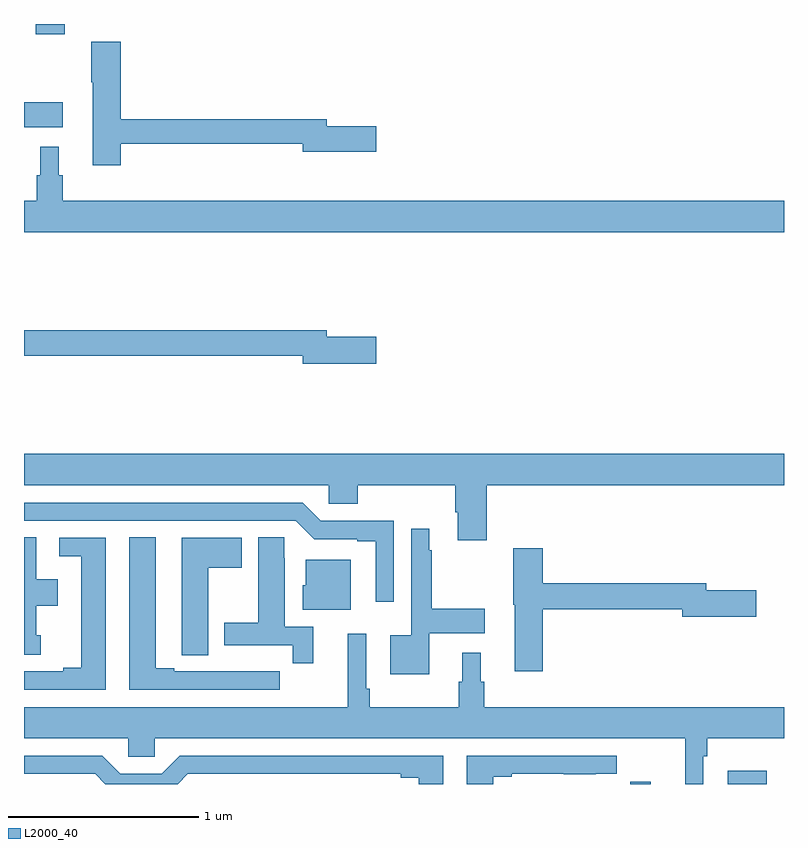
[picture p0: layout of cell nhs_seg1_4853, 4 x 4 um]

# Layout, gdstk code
import gdstk
lib = gdstk.Library(unit=1e-6, precision=1e-09)
def R(c, l, rs):  # rectangles x0, y0, x1, y1
    for r in rs: c.add(gdstk.rectangle(r[:2], r[2:], *l))
def P(c, l, *ps):  # polygons
    for p in ps: c.add(gdstk.Polygon(p, *l))
L2000_40 = (2000, 40)

nhs_seg1_4853 = lib.new_cell('nhs_seg1_4853')
R(nhs_seg1_4853, L2000_40, [(378.19,510.199,378.299,510.211), (378.704,510.199,378.91,510.268), (375,513.656,375.205,513.786), (375.062,514.145,375.215,514.199)])
P(nhs_seg1_4853, L2000_40, [(375.509,513.57),(376.466,513.57),(376.466,513.527),(376.855,513.527),(376.855,513.662),(376.594,513.662),(376.594,513.698),(375.509,513.698),(375.509,514.105),(375.355,514.105),(375.355,513.892),(375.362,513.892),(375.362,513.456),(375.509,513.456)],
  [(379,513.268),(375.203,513.268),(375.203,513.402),(375.184,513.402),(375.184,513.553),(375.086,513.553),(375.086,513.402),(375.067,513.402),(375.067,513.268),(375,513.268),(375,513.104),(379,513.104)],
  [(376.855,512.552),(376.594,512.552),(376.594,512.588),(375,512.588),(375,512.452),(376.466,512.452),(376.466,512.41),(376.855,512.41)],
  [(377.435,511.772),(379,511.772),(379,511.936),(375,511.936),(375,511.772),(376.605,511.772),(376.605,511.674),(376.757,511.674),(376.757,511.772),(377.27,511.772),(377.27,511.63),(377.282,511.63),(377.282,511.482),(377.435,511.482)],
  [(376.947,511.584),(376.563,511.584),(376.467,511.68),(375,511.68),(375,511.584),(376.431,511.584),(376.527,511.488),(376.754,511.488),(376.754,511.476),(376.85,511.476),(376.85,511.158),(376.947,511.158)],
  [(377.134,510.992),(377.425,510.992),(377.425,511.122),(377.146,511.122),(377.146,511.43),(377.134,511.43),(377.134,511.543),(377.037,511.543),(377.037,510.982),(376.928,510.982),(376.928,510.776),(377.134,510.776)],
  [(376.523,511.026),(376.372,511.026),(376.372,511.388),(376.371,511.388),(376.371,511.499),(376.232,511.499),(376.232,511.047),(376.055,511.047),(376.055,510.93),(376.414,510.93),(376.414,510.834),(376.523,510.834)],
  [(375.088,510.981),(375.064,510.981),(375.064,511.136),(375.178,511.136),(375.178,511.276),(375.064,511.276),(375.064,511.499),(375,511.499),(375,510.879),(375.088,510.879)],
  [(376.345,510.792),(376.232,510.792),(376.232,510.793),(376.066,510.793),(376.066,510.792),(375.79,510.792),(375.79,510.807),(375.694,510.807),(375.694,511.499),(375.554,511.499),(375.554,510.696),(376.345,510.696)],
  [(375.97,511.336),(376.147,511.336),(376.147,511.495),(375.83,511.495),(375.83,510.985),(375.831,510.985),(375.831,510.877),(375.97,510.877)],
  [(375.43,511.494),(375.186,511.494),(375.186,511.398),(375.302,511.398),(375.302,510.812),(375.206,510.812),(375.206,510.792),(375,510.792),(375,510.696),(375.43,510.696)],
  [(377.729,511.12),(378.464,511.12),(378.464,511.078),(378.853,511.078),(378.853,511.22),(378.592,511.22),(378.592,511.256),(377.729,511.256),(377.729,511.441),(377.575,511.441),(377.575,511.143),(377.582,511.143),(377.582,510.792),(377.729,510.792)],
  [(376.72,511.378),(376.484,511.378),(376.484,511.245),(376.466,511.245),(376.466,511.115),(376.72,511.115)],
  [(378.576,510.344),(378.596,510.344),(378.596,510.44),(379,510.44),(379,510.604),(377.423,510.604),(377.423,510.738),(377.404,510.738),(377.404,510.889),(377.306,510.889),(377.306,510.738),(377.287,510.738),(377.287,510.604),(376.82,510.604),(376.82,510.7),(376.8,510.7),(376.8,510.991),(376.703,510.991),(376.703,510.604),(375,510.604),(375,510.44),(375.549,510.44),(375.549,510.342),(375.687,510.342),(375.687,510.44),(378.479,510.44),(378.479,510.199),(378.576,510.199)],
  [(377.47,510.237),(377.566,510.237),(377.566,510.252),(377.842,510.252),(377.842,510.251),(378.008,510.251),(378.008,510.252),(378.121,510.252),(378.121,510.348),(377.33,510.348),(377.33,510.199),(377.47,510.199)],
  [(375.861,510.252),(376.982,510.252),(376.982,510.232),(377.078,510.232),(377.078,510.199),(377.206,510.199),(377.206,510.348),(375.821,510.348),(375.725,510.252),(375.507,510.252),(375.411,510.348),(375,510.348),(375,510.252),(375.375,510.252),(375.428,510.199),(375.808,510.199)])

lib.write_gds('nhs_seg1_4853.gds')
